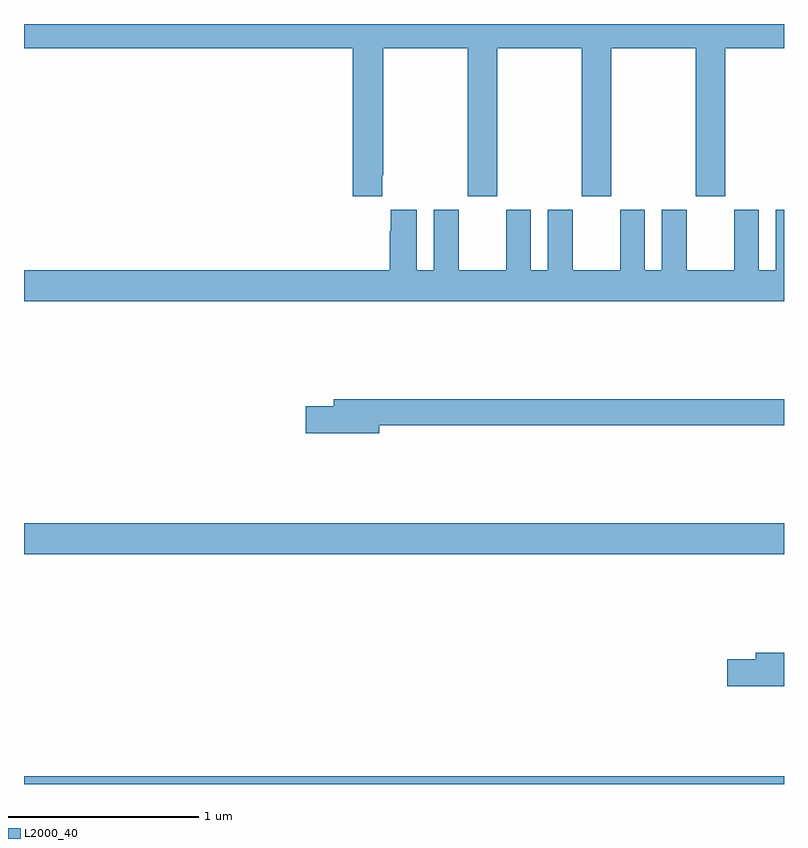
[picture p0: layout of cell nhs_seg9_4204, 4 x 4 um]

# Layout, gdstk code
import gdstk
lib = gdstk.Library(unit=1e-6, precision=1e-09)
def R(c, l, rs):  # rectangles x0, y0, x1, y1
    for r in rs: c.add(gdstk.rectangle(r[:2], r[2:], *l))
def P(c, l, *ps):  # polygons
    for p in ps: c.add(gdstk.Polygon(p, *l))
L2000_40 = (2000, 40)

nhs_seg9_4204 = lib.new_cell('nhs_seg9_4204')
R(nhs_seg9_4204, L2000_40, [(351,1240.5,355,1240.54), (351,1241.708,355,1241.872)])
P(nhs_seg9_4204, L2000_40, [(352.885,1243.705),(352.89,1243.705),(352.89,1244.372),(353.335,1244.372),(353.335,1243.593),(353.49,1243.593),(353.49,1244.372),(353.935,1244.372),(353.935,1243.593),(354.09,1243.593),(354.09,1244.372),(354.535,1244.372),(354.535,1243.593),(354.69,1243.593),(354.69,1244.372),(355,1244.372),(355,1244.5),(351,1244.5),(351,1244.372),(352.73,1244.372),(352.73,1243.593),(352.885,1243.593)],
  [(355,1243.522),(354.956,1243.522),(354.956,1243.204),(354.868,1243.204),(354.868,1243.522),(354.737,1243.522),(354.737,1243.204),(354.487,1243.204),(354.487,1243.522),(354.356,1243.522),(354.356,1243.204),(354.268,1243.204),(354.268,1243.522),(354.137,1243.522),(354.137,1243.204),(353.887,1243.204),(353.887,1243.522),(353.756,1243.522),(353.756,1243.204),(353.668,1243.204),(353.668,1243.522),(353.537,1243.522),(353.537,1243.204),(353.287,1243.204),(353.287,1243.522),(353.156,1243.522),(353.156,1243.204),(353.068,1243.204),(353.068,1243.522),(352.931,1243.522),(352.931,1243.409),(352.925,1243.409),(352.925,1243.204),(351,1243.204),(351,1243.04),(355,1243.04)],
  [(352.87,1242.388),(355,1242.388),(355,1242.524),(352.631,1242.524),(352.631,1242.488),(352.482,1242.488),(352.482,1242.346),(352.87,1242.346)],
  [(355,1241.192),(354.851,1241.192),(354.851,1241.156),(354.702,1241.156),(354.702,1241.014),(355,1241.014)])

lib.write_gds('nhs_seg9_4204.gds')
